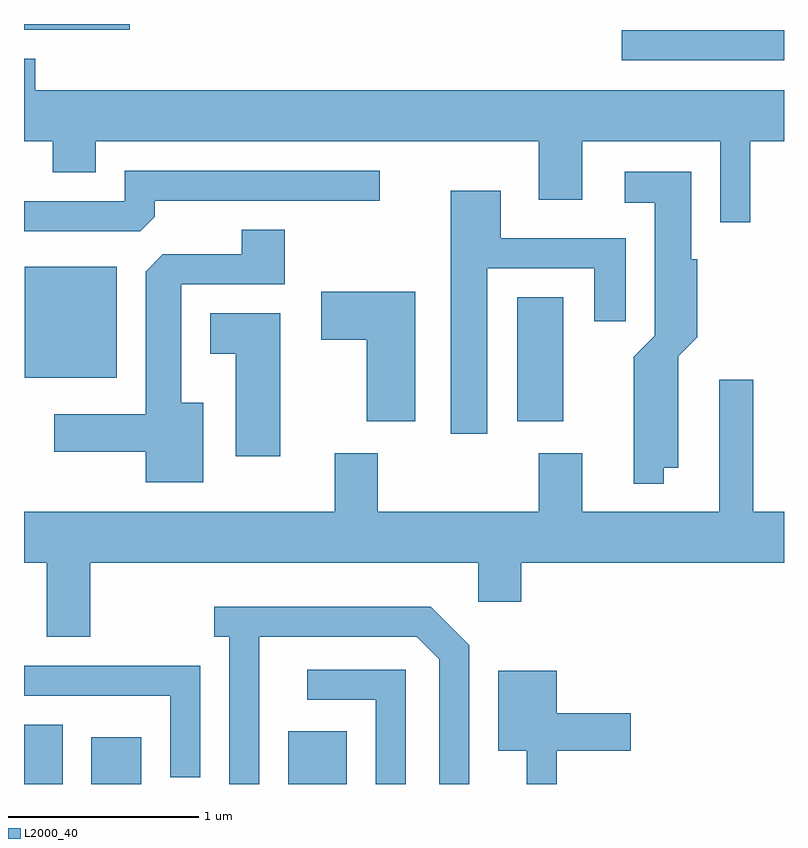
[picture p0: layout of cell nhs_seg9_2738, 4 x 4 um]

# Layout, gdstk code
import gdstk
lib = gdstk.Library(unit=1e-6, precision=1e-09)
def R(c, l, rs):  # rectangles x0, y0, x1, y1
    for r in rs: c.add(gdstk.rectangle(r[:2], r[2:], *l))
def P(c, l, *ps):  # polygons
    for p in ps: c.add(gdstk.Polygon(p, *l))
L2000_40 = (2000, 40)

nhs_seg9_2738 = lib.new_cell('nhs_seg9_2738')
R(nhs_seg9_2738, L2000_40, [(265.611,1988.432,265.814,1988.744), (265.966,1988.432,266.229,1988.679), (267.001,1988.432,267.309,1988.709), (268.206,1990.341,268.449,1990.994), (265.616,1990.571,266.099,1991.154), (268.758,1992.241,269.611,1992.399), (265.611,1992.401,266.168,1992.432)])
P(nhs_seg9_2738, L2000_40, [(265.669,1992.249),(265.611,1992.249),(265.611,1991.816),(265.761,1991.816),(265.761,1991.651),(265.989,1991.651),(265.989,1991.816),(268.321,1991.816),(268.321,1991.506),(268.549,1991.506),(268.549,1991.816),(269.276,1991.816),(269.276,1991.388),(269.434,1991.388),(269.434,1991.816),(269.611,1991.816),(269.611,1992.084),(265.669,1992.084)],
  [(266.299,1991.417),(266.299,1991.501),(267.483,1991.501),(267.483,1991.659),(266.141,1991.659),(266.141,1991.499),(265.611,1991.499),(265.611,1991.341),(266.224,1991.341)],
  [(268.979,1990.096),(269.054,1990.096),(269.054,1990.684),(269.154,1990.784),(269.154,1991.194),(269.124,1991.194),(269.124,1991.654),(268.773,1991.654),(268.773,1991.491),(268.931,1991.491),(268.931,1990.792),(268.821,1990.682),(268.821,1990.013),(268.979,1990.013)],
  [(268.049,1991.146),(268.611,1991.146),(268.611,1990.868),(268.779,1990.868),(268.779,1991.304),(268.119,1991.304),(268.119,1991.554),(267.856,1991.554),(267.856,1990.276),(268.049,1990.276)],
  [(266.554,1990.439),(266.439,1990.439),(266.439,1991.061),(266.984,1991.061),(266.984,1991.349),(266.756,1991.349),(266.756,1991.219),(266.342,1991.219),(266.251,1991.129),(266.251,1990.379),(265.771,1990.379),(265.771,1990.181),(266.251,1990.181),(266.251,1990.021),(266.554,1990.021)],
  [(267.669,1991.024),(267.176,1991.024),(267.176,1990.771),(267.416,1990.771),(267.416,1990.341),(267.669,1990.341)],
  [(266.959,1990.909),(266.591,1990.909),(266.591,1990.696),(266.726,1990.696),(266.726,1990.156),(266.959,1990.156)],
  [(269.271,1990.559),(269.271,1989.864),(268.549,1989.864),(268.549,1990.174),(268.321,1990.174),(268.321,1989.864),(267.474,1989.864),(267.474,1990.174),(267.246,1990.174),(267.246,1989.864),(265.611,1989.864),(265.611,1989.596),(265.731,1989.596),(265.731,1989.206),(265.959,1989.206),(265.959,1989.596),(268.001,1989.596),(268.001,1989.391),(268.229,1989.391),(268.229,1989.596),(269.611,1989.596),(269.611,1989.864),(269.449,1989.864),(269.449,1990.559)],
  [(266.849,1989.206),(267.679,1989.206),(267.796,1989.089),(267.796,1988.432),(267.954,1988.432),(267.954,1989.162),(267.752,1989.364),(266.613,1989.364),(266.613,1989.206),(266.691,1989.206),(266.691,1988.432),(266.849,1988.432)],
  [(266.539,1989.054),(265.611,1989.054),(265.611,1988.896),(266.381,1988.896),(266.381,1988.468),(266.539,1988.468)],
  [(267.619,1989.034),(267.103,1989.034),(267.103,1988.876),(267.461,1988.876),(267.461,1988.432),(267.619,1988.432)],
  [(268.414,1988.606),(268.804,1988.606),(268.804,1988.804),(268.414,1988.804),(268.414,1989.029),(268.106,1989.029),(268.106,1988.606),(268.256,1988.606),(268.256,1988.432),(268.414,1988.432)])

lib.write_gds('nhs_seg9_2738.gds')
